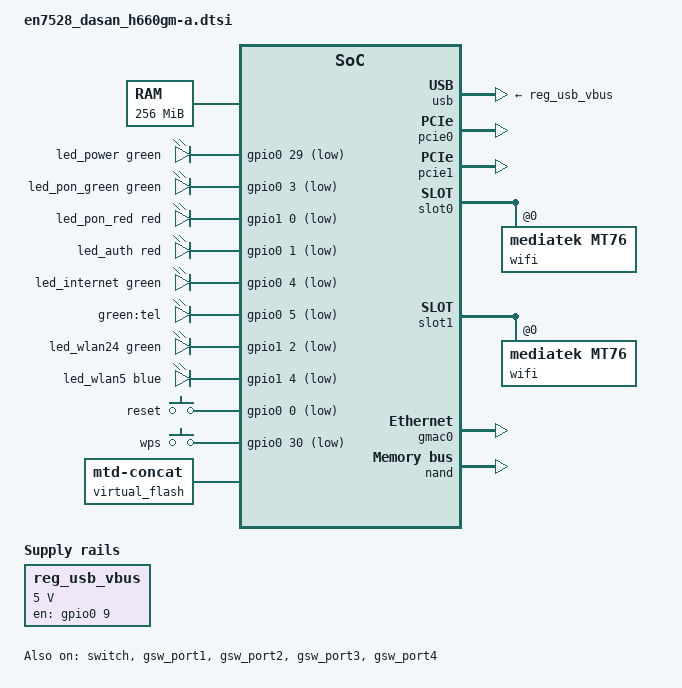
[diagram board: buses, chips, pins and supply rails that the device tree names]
// SPDX-License-Identifier: (GPL-2.0-only OR BSD-2-Clause)

#include "en7528.dtsi"

#include <dt-bindings/gpio/gpio.h>
#include <dt-bindings/input/input.h>
#include <dt-bindings/leds/common.h>

/ {
	aliases {
		led-boot = &led_power;
		led-failsafe = &led_power;
		led-running = &led_power;
		led-upgrade = &led_power;
	};

	memory@0 {
		device_type = "memory";
		reg = <0x00000000 0x10000000>;
	};

	chosen {
		stdout-path = "/serial@1fbf0000:115200";
		linux,usable-memory-range = <0x00020000 0x0ffe0000>;
	};

	leds {
		compatible = "gpio-leds";

		led_power: pwr {
			color = <LED_COLOR_ID_GREEN>;
			function = LED_FUNCTION_POWER;
			gpios = <&gpio0 29 GPIO_ACTIVE_LOW>;
		};

		led_pon_green: pon-green {
			color = <LED_COLOR_ID_GREEN>;
			function = LED_FUNCTION_STATUS;
			gpios = <&gpio0 3 GPIO_ACTIVE_LOW>;
		};

		led_pon_red: pon-red {
			color = <LED_COLOR_ID_RED>;
			function = LED_FUNCTION_STATUS;
			gpios = <&gpio1 0 GPIO_ACTIVE_LOW>;
		};

		led_auth: auth {
			color = <LED_COLOR_ID_RED>;
			function = LED_FUNCTION_INDICATOR;
			gpios = <&gpio0 1 GPIO_ACTIVE_LOW>;
		};

		led_internet: internet {
			color = <LED_COLOR_ID_GREEN>;
			function = LED_FUNCTION_WAN;
			gpios = <&gpio0 4 GPIO_ACTIVE_LOW>;
		};

		led_tel: tel {
			label = "green:tel";
			gpios = <&gpio0 5 GPIO_ACTIVE_LOW>;
		};

		led_wlan24: wlan2g {
			color = <LED_COLOR_ID_GREEN>;
			function = LED_FUNCTION_WLAN_2GHZ;
			gpios = <&gpio1 2 GPIO_ACTIVE_LOW>;
			linux,default-trigger = "phy0tpt";
		};

		led_wlan5: wlan5g {
			color = <LED_COLOR_ID_BLUE>;
			function = LED_FUNCTION_WLAN_5GHZ;
			gpios = <&gpio1 4 GPIO_ACTIVE_LOW>;
			linux,default-trigger = "phy1tpt";
		};
	};

	reg_usb_vbus: regulator-usb-vbus {
		compatible = "regulator-fixed";
		regulator-name = "usb-vbus";
		regulator-min-microvolt = <5000000>;
		regulator-max-microvolt = <5000000>;
		gpios = <&gpio0 9 GPIO_ACTIVE_HIGH>;
		enable-active-high;
	};

	keys {
		compatible = "gpio-keys-polled";
		poll-interval = <100>;

		key-reset {
			label = "reset";
			gpios = <&gpio0 0 GPIO_ACTIVE_LOW>;
			linux,code = <KEY_RESTART>;
		};

		key-wps {
			label = "wps";
			gpios = <&gpio0 30 GPIO_ACTIVE_LOW>;
			linux,code = <KEY_WPS_BUTTON>;
		};
	};

	virtual_flash {
		compatible = "mtd-concat";
		devices = <&rootA &root1>;

		partitions {
			compatible = "fixed-partitions";
			#address-cells = <1>;
			#size-cells = <1>;

			partition@0 {
				label = "ubi";
				reg = <0x0 0x0>;
			};
		};
	};
};

&usb {
	status = "okay";
	vbus-supply = <&reg_usb_vbus>;
};

&pcie0 {
	status = "okay";
};

&pcie1 {
	status = "okay";
};

&slot0 {
	status = "okay";

	wifi@0,0 {
		compatible = "mediatek,mt76";
		reg = <0x0000 0 0 0 0>;
		nvmem-cells = <&macaddr_dzs 8>, <&eeprom_reservearea_1c0000>;
		nvmem-cell-names = "mac-address", "eeprom";
		ieee80211-freq-limit = <2400000 2500000>;
	};
};

&slot1 {
	status = "okay";

	wifi@0,0 {
		compatible = "mediatek,mt76";
		reg = <0x0000 0 0 0 0>;
		nvmem-cells = <&macaddr_dzs 9>, <&eeprom_reservearea_40000>;
		nvmem-cell-names = "mac-address", "eeprom";
		ieee80211-freq-limit = <5000000 6000000>;
	};
};

&gmac0 {
	status = "okay";
	nvmem-cells = <&macaddr_dzs 7>;
	nvmem-cell-names = "mac-address";
};

&switch {
	status = "okay";
};

/*
 * The switch ports are wired to the same GPHYs on every H660GM-A, but the
 * physical sockets are not numbered the same way on all of them, so the
 * port labels are assigned in the board .dts files.
 */
&gsw_port1 {
	status = "okay";
};

&gsw_port2 {
	status = "okay";
};

&gsw_port3 {
	status = "okay";
};

&gsw_port4 {
	status = "okay";
};

&nand {
	status = "okay";
	econet,bmt;
	econet,bbt-table-size = <250>;

	partitions: partitions {
		compatible = "fixed-partitions";
		#address-cells = <1>;
		#size-cells = <1>;

		partition@0 {
			label = "bootloader";
			reg = <0x0 0x40000>;
			read-only;
		};

		partition@40000 {
			label = "dzs";
			reg = <0x40000 0x40000>;
			nvmem-layout {
				compatible = "fixed-layout";
				#address-cells = <1>;
				#size-cells = <1>;

				macaddr_dzs: macaddr@a {
					compatible = "mac-base";
					reg = <0xa 0x6>;
					#nvmem-cell-cells = <1>;
				};
			};
		};

		partition@80000 {
			label = "tclinux";
			reg = <0x80000 0x2000000>;
			econet,enable-remap;
		};

		/* Nested inside of tclinux */
		partition1@80000 {
			label = "tclinux_kernel";
			reg = <0x80000 0x400000>;
			econet,enable-remap;
		};

		/* Concatenated with "unknown" to form the UBI volume */
		rootA: partition1@480000 {
			label = "tclinux_rootfs";
			reg = <0x480000 0x1c00000>;
		};

		partition@2080000 {
			label = "tclinux_slave";
			reg = <0x2080000 0x2000000>;
		};

		partition@4080000 {
			label = "romfile";
			reg = <0x4080000 0x40000>;
		};

		partition@40c0000 {
			label = "rwfs";
			reg = <0x40c0000 0x2000000>;
		};
	};
};
